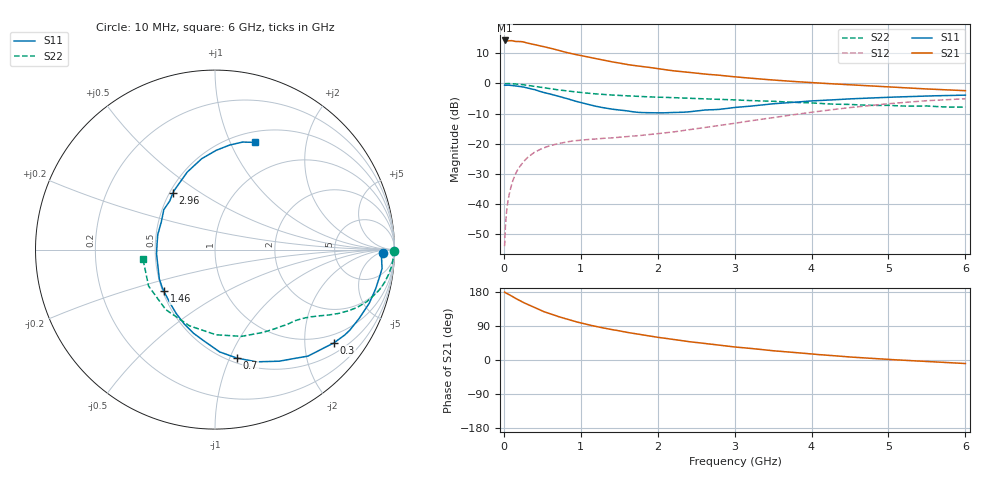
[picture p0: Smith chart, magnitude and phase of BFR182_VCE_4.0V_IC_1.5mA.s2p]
! Infineon Technologies  Discrete & RF Semiconductors
! BFR182
! VCE =  4.0 V,  IC =  1.5 mA
! Common Emitter S-Parameters:  Nov 2015
# GHz  S  MA  R  50
!  f  S11  S21  S12  S22
! GHz  MAG  ANG  MAG  ANG  MAG  ANG  MAG  ANG
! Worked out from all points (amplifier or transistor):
!   210 points, 10 MHz to 6 GHz, reference 50 ohm
!   highest |S21| = 14.2 dB at 10 MHz (marker M1)
!   |S21| within 3 dB of that: start of sweep to 669.9 MHz
!   unconditionally stable (mu >= 1): 1.609 GHz to 3.199 GHz
!   at 185 MHz: K = 0.15, MSG = 21.2 dB, |S12| = -28.5 dB
!   at 1.52 GHz: K = 0.96, MSG = 12.2 dB, |S12| = -17.8 dB
!   at 6 GHz: K = 0.91, MSG = 1.3 dB, |S12| = -5.1 dB
!   S11 on the Smith chart (normalised r, x): 10 MHz: 27, -9; 300 MHz: 0.76, -2.72; 700 MHz: 0.55, -1.07; 1.46 GHz: 0.51, -0.27; 2.96 GHz: 0.52, +0.39; 6 GHz: 0.62, +1.24
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0.01  0.9363 -1.3  5.142 179.1  0.002 86.0  0.996 -0.6
0.02  0.9284 -2.4  5.003 177.7  0.0041 87.5  0.9865 -1.1
0.035  0.932 -4.5  5.036 176.1  0.0073 87.6  0.9905 -1.9
0.085  0.9259 -11.1  5.1 170.7  0.0176 82.6  0.9901 -4.6
0.1  0.9231 -13.1  5.119 169.1  0.0206 81.5  0.9884 -5.4
0.2  0.8899 -25.6  4.954 157.6  0.0405 74.7  0.9649 -10.5
0.26  0.8657 -33.3  4.841 151.2  0.0508 70.5  0.9455 -13.4
0.3  0.8426 -38.0  4.675 147.2  0.0576 68.6  0.9307 -15.1
0.5  0.7172 -60.1  4.111 129.0  0.0835 57.8  0.8543 -22.2
0.6  0.6671 -69.6  3.849 121.7  0.0927 53.7  0.815 -24.8
0.7  0.6168 -78.5  3.558 115.1  0.0998 50.9  0.7816 -26.9
0.88  0.5297 -93.7  3.109 104.1  0.11 46.7  0.7343 -29.7
1.02  0.4734 -106.0  2.866 96.8  0.1149 45.2  0.7007 -31.6
1.2  0.4163 -121.3  2.569 88.3  0.1195 44.3  0.6682 -33.9
1.46  0.3671 -140.8  2.215 78.4  0.1266 45.0  0.6345 -36.7
2.02  0.3242 176.6  1.738 59.4  0.1477 49.9  0.5901 -43.1
2.4  0.3367 152.6  1.53 48.6  0.1694 53.6  0.5656 -48.9
2.96  0.3921 126.9  1.298 35.4  0.2143 56.0  0.5341 -59.4
3.1  0.4075 122.0  1.251 32.6  0.2281 55.9  0.5248 -62.6
4.1  0.5187 96.5  1.011 14.2  0.3443 50.2  0.4651 -92.9
5.1  0.5938 80.7  0.861 0.4  0.4704 37.2  0.4256 -133.6
6  0.6377 69.5  0.756 -9.3  0.5567 22.1  0.4047 -172.9
